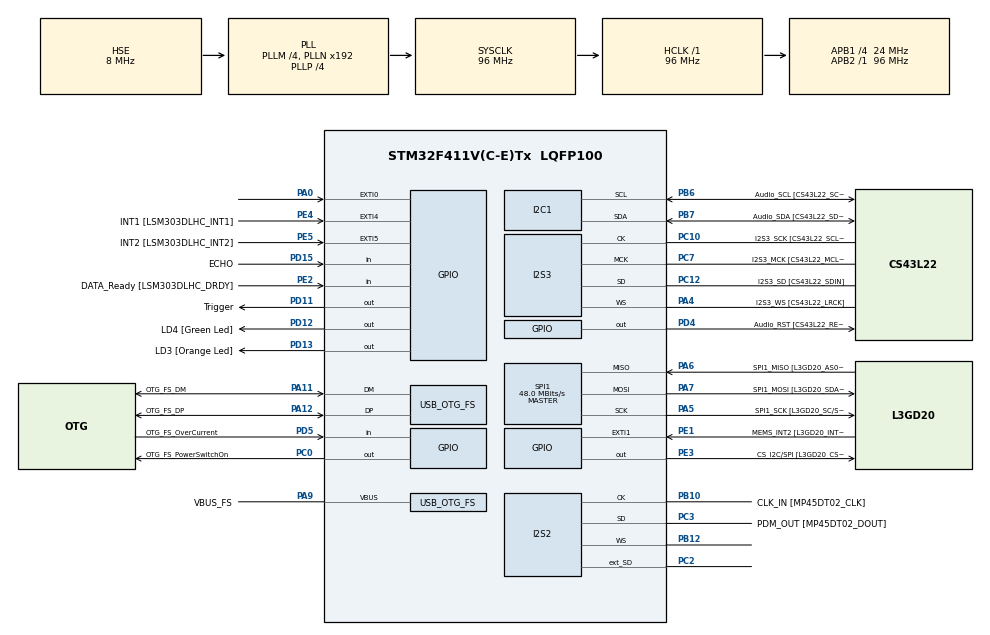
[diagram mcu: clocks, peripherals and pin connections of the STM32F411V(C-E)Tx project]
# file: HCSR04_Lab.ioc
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I2C1.I2C_Mode=I2C_Fast
I2S2.AudioFreq=I2S_AUDIOFREQ_96K
I2S2.ErrorAudioFreq=0.15 %
I2S2.FullDuplexMode=I2S_FULLDUPLEXMODE_ENABLE
I2S2.Instance=SPI$Index
I2S2.RealAudioFreq=96.153 KHz
I2S2.VirtualMode=I2S_MODE_MASTER
I2S3.AudioFreq=I2S_AUDIOFREQ_96K
I2S3.ErrorAudioFreq=-6.99 %
I2S3.FullDuplexMode=I2S_FULLDUPLEXMODE_DISABLE
I2S3.Instance=SPI$Index
I2S3.RealAudioFreq=89.285 KHz
I2S3.VirtualMode=I2S_MODE_MASTER
Mcu.Family=STM32F4
Mcu.Name=STM32F411V(C-E)Tx
Mcu.Package=LQFP100
NVIC.OTG_FS_IRQn=true\:0\:0\:false\:false\:true\:true\:true\:true
NVIC.PriorityGroup=NVIC_PRIORITYGROUP_0
PA0-WKUP.GPIO_ModeDefaultEXTI=GPIO_MODE_EVT_RISING
PA0-WKUP.Signal=GPXTI0
PA10.GPIO_Label=OTG_FS_ID
PA10.Signal=USB_OTG_FS_ID
PA11.GPIO_Label=OTG_FS_DM
PA11.Mode=Host_Only
PA11.Signal=USB_OTG_FS_DM
PA12.GPIO_Label=OTG_FS_DP
PA12.Mode=Host_Only
PA12.Signal=USB_OTG_FS_DP
PA13.GPIO_Label=SWDIO
PA13.Mode=Serial_Wire
PA13.Signal=SYS_JTMS-SWDIO
PA14.GPIO_Label=SWCLK
PA14.Mode=Serial_Wire
PA14.Signal=SYS_JTCK-SWCLK
PA4.GPIO_Label=I2S3_WS [CS43L22_LRCK]
PA4.GPIO_Mode=GPIO_MODE_AF_PP
PA4.GPIO_PuPd=GPIO_NOPULL
PA4.GPIO_Speed=GPIO_SPEED_FREQ_LOW
PA4.Mode=Half_Duplex_Master
PA4.Signal=I2S3_WS
PA5.GPIO_Label=SPI1_SCK [L3GD20_SC/SPC]
PA5.Mode=Full_Duplex_Master
PA5.Signal=SPI1_SCK
PA6.GPIO_Label=SPI1_MISO [L3GD20_AS0/SDO]
PA6.Mode=Full_Duplex_Master
PA6.Signal=SPI1_MISO
PA7.GPIO_Label=SPI1_MOSI [L3GD20_SDA/SDI/SDO]
PA7.Mode=Full_Duplex_Master
PA7.Signal=SPI1_MOSI
PA9.GPIO_Label=VBUS_FS
PA9.Mode=Activate_VBUS
PA9.Signal=USB_OTG_FS_VBUS
PB10.GPIO_Label=CLK_IN [MP45DT02_CLK]
PB10.Mode=Full_Duplex_Master
PB10.Signal=I2S2_CK
PB12.Mode=Full_Duplex_Master
PB12.Signal=I2S2_WS
PB3.GPIO_Label=SWO
PB3.Signal=SYS_JTDO-SWO
PB6.GPIO_Label=Audio_SCL [CS43L22_SCL]
PB6.GPIO_Mode=GPIO_MODE_AF_OD
PB6.GPIO_Pu=GPIO_PULLUP
PB6.GPIO_PuPd=GPIO_NOPULL
PB6.GPIO_Speed=GPIO_SPEED_FREQ_LOW
PB6.Mode=I2C
PB6.Signal=I2C1_SCL
PB7.GPIO_Label=Audio_SDA [CS43L22_SDA]
PB7.GPIO_Mode=GPIO_MODE_AF_OD
PB7.GPIO_Pu=GPIO_PULLUP
PB7.GPIO_Speed=GPIO_SPEED_FREQ_LOW
PB7.Mode=I2C
PB7.Signal=I2C1_SDA
PC0.GPIO_Label=OTG_FS_PowerSwitchOn
PC0.PinState=GPIO_PIN_SET
PC0.Signal=GPIO_Output
PC10.GPIO_Label=I2S3_SCK [CS43L22_SCLK]
PC10.GPIO_Mode=GPIO_MODE_AF_PP
PC10.GPIO_PuPd=GPIO_NOPULL
PC10.GPIO_Speed=GPIO_SPEED_FREQ_LOW
PC10.Mode=Half_Duplex_Master
PC10.Signal=I2S3_CK
PC12.GPIO_Label=I2S3_SD [CS43L22_SDIN]
PC12.GPIO_Mode=GPIO_MODE_AF_PP
PC12.GPIO_PuPd=GPIO_NOPULL
PC12.GPIO_Speed=GPIO_SPEED_FREQ_LOW
PC12.Mode=Half_Duplex_Master
PC12.Signal=I2S3_SD
PC14-OSC32_IN.GPIO_Label=PC14-OSC32_IN
PC14-OSC32_IN.Mode=LSE-External-Oscillator
PC14-OSC32_IN.Signal=RCC_OSC32_IN
PC15-OSC32_OUT.GPIO_Label=PC15-OSC32_OUT
PC15-OSC32_OUT.Mode=LSE-External-Oscillator
PC15-OSC32_OUT.Signal=RCC_OSC32_OUT
PC2.Mode=Full_Duplex_Master
PC2.Signal=I2S2_ext_SD
PC3.GPIO_Label=PDM_OUT [MP45DT02_DOUT]
PC3.Mode=Full_Duplex_Master
PC3.Signal=I2S2_SD
PC7.GPIO_Label=I2S3_MCK [CS43L22_MCLK]
PC7.GPIO_Mode=GPIO_MODE_AF_PP
PC7.GPIO_PuPd=GPIO_NOPULL
PC7.GPIO_Speed=GPIO_SPEED_FREQ_LOW
PC7.Mode=Master_Clock_Activated
PC7.Signal=I2S3_MCK
PD11.GPIO_Label=Trigger
PD11.Signal=GPIO_Output
PD12.GPIO_Label=LD4 [Green Led]
PD12.GPIO_PuPd=GPIO_NOPULL
PD12.GPIO_Speed=GPIO_SPEED_FREQ_LOW
PD12.Signal=GPIO_Output
PD13.GPIO_Label=LD3 [Orange Led]
PD13.GPIO_PuPd=GPIO_NOPULL
PD13.GPIO_Speed=GPIO_SPEED_FREQ_LOW
PD13.Signal=GPIO_Output
PD15.GPIO_Label=ECHO
PD15.Signal=GPIO_Input
PD4.GPIO_Label=Audio_RST [CS43L22_RESET]
PD4.Signal=GPIO_Output
PD5.GPIO_Label=OTG_FS_OverCurrent
PD5.Signal=GPIO_Input
PE1.GPIO_Label=MEMS_INT2 [L3GD20_INT2]
PE1.GPIO_ModeDefaultEXTI=GPIO_MODE_EVT_RISING
PE1.Signal=GPXTI1
PE2.GPIO_Label=DATA_Ready [LSM303DLHC_DRDY]
PE2.Signal=GPIO_Input
PE3.GPIO_Label=CS_I2C/SPI [L3GD20_CS_I2C/SPI]
PE3.Signal=GPIO_Output
PE4.GPIO_Label=INT1 [LSM303DLHC_INT1]
PE4.GPIO_ModeDefaultEXTI=GPIO_MODE_EVT_RISING
PE4.Signal=GPXTI4
PE5.GPIO_Label=INT2 [LSM303DLHC_INT2]
PE5.GPIO_ModeDefaultEXTI=GPIO_MODE_EVT_RISING
PE5.Signal=GPXTI5
PH0\ -\ OSC_IN.GPIO_Label=PH0-OSC_IN
PH0\ -\ OSC_IN.Mode=HSE-External-Oscillator
PH0\ -\ OSC_IN.Signal=RCC_OSC_IN
PH1\ -\ OSC_OUT.GPIO_Label=PH1-OSC_OUT
PH1\ -\ OSC_OUT.Mode=HSE-External-Oscillator
PH1\ -\ OSC_OUT.Signal=RCC_OSC_OUT
ProjectManager.HeapSize=0x200
ProjectManager.StackSize=0x400
ProjectManager.TargetToolchain=STM32CubeIDE
RCC.48MHZClocksFreq_Value=48000000
RCC.AHBFreq_Value=96000000
RCC.APB1CLKDivider=RCC_HCLK_DIV4
RCC.APB1Freq_Value=24000000
RCC.APB1TimFreq_Value=48000000
RCC.APB2Freq_Value=96000000
RCC.APB2TimFreq_Value=96000000
RCC.CortexFreq_Value=96000000
RCC.HCLKFreq_Value=96000000
RCC.HSE_VALUE=8000000
RCC.HSI_VALUE=16000000
RCC.PLLI2SM=5
RCC.PLLI2SN=200
RCC.PLLM=4
RCC.PLLP=RCC_PLLP_DIV4
RCC.PLLQ=8
RCC.SYSCLKFreq_VALUE=96000000
RCC.SYSCLKSource=RCC_SYSCLKSOURCE_PLLCLK
RCC.VCOOutputFreq_Value=384000000
SPI1.BaudRatePrescaler=SPI_BAUDRATEPRESCALER_2
SPI1.CalculateBaudRate=48.0 MBits/s
SPI1.Direction=SPI_DIRECTION_2LINES
SPI1.Mode=SPI_MODE_MASTER
SPI1.VirtualType=VM_MASTER
TIM2.Period=100
TIM2.Prescaler=9600-1
USB_HOST.BSP.number=1
USB_HOST.USBH_HandleTypeDef=hUsbHostFS
USB_HOST.VirtualModeFS=Cdc
USB_HOST0.BSP.STBoard=false
USB_HOST0.BSP.api=Unknown
USB_HOST0.BSP.instance=PC0
USB_HOST0.BSP.ip=GPIO
USB_HOST0.BSP.mode=Output
USB_HOST0.BSP.name=Drive_VBUS_FS
USB_HOST0.BSP.solution=PC0
USB_OTG_FS.VirtualMode=Host_Only
USB_OTG_FS.phy_itface=HCD_PHY_EMBEDDED
VP_TIM2_VS_ClockSourceINT.Mode=Internal
VP_USB_HOST_VS_USB_HOST_CDC_FS.Mode=CDC_FS
board=STM32F411E-DISCO

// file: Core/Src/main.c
/* USER CODE BEGIN Header */
/**
  ******************************************************************************
  * @file           : main.c
  * @brief          : Main program body
  ******************************************************************************
  * @attention
  *
  * Copyright (c) 2022 STMicroelectronics.
  * All rights reserved.
  *
  * This software is licensed under terms that can be found in the LICENSE file
  * in the root directory of this software component.
  * If no LICENSE file comes with this software, it is provided AS-IS.
  *
  ******************************************************************************
  */
/* USER CODE END Header */
#include "main.h"
#include "usb_host.h"

/* USER CODE BEGIN Includes */
#include "ssd1306.h"
#include "fonts.h"
#include "test.h"
#include <stdarg.h>
#include <stdlib.h>
#include <stdio.h>

/* USER CODE END Includes */

I2C_HandleTypeDef hi2c1;

I2S_HandleTypeDef hi2s2;
I2S_HandleTypeDef hi2s3;

SPI_HandleTypeDef hspi1;

TIM_HandleTypeDef htim2;

void SystemClock_Config(void);
void PeriphCommonClock_Config(void);
static void MX_GPIO_Init(void);
static void MX_I2C1_Init(void);
static void MX_I2S2_Init(void);
static void MX_I2S3_Init(void);
static void MX_SPI1_Init(void);
static void MX_TIM2_Init(void);
void MX_USB_HOST_Process(void);

/* USER CODE BEGIN 0 */
// Частота виконання циклу (4 такти і одиниця -- мегагерци, щоб зручніше на
// мікросекунди множити):
#define LOOP_FREQ (SystemCoreClock/4000000)
// LOOP_FREQ == 6 для 24МГц
// LOOP_FREQ == 16 для 64МГц
// LOOP_FREQ == 18 для 72МГц

//! Затримка в мікросекундах.
//! Увага! Не працюватиме за частот, менших за 4МГц, через значення LOOP_FREQ
//! ЗАтримка буде трішки більшою за задану, але на лічені такти.
void udelay_asm(uint32_t useconds) {
	useconds *= LOOP_FREQ;

    asm volatile("   mov r0, %[useconds]    \n\t"
                 "1: subs r0, #1            \n\t"
                 "   bhi 1b                 \n\t"
                 :
                 : [useconds] "r" (useconds)
                 : "r0");
}

void myFmtFunction(const char *fmt, ...)
{
  // determine required buffer size
  va_list args;
  va_start(args, fmt);
  int len = vsnprintf(NULL, 0, fmt, args);
  va_end(args);
  if(len < 0) return;

  // format message
  char msg[len + 1]; // or use heap allocation if implementation doesn't support VLAs
  va_start(args, fmt);
  vsnprintf(msg, len + 1, fmt, args);
  va_end(args);

  // call myFunction
  SSD1306_Puts(msg, &Font_11x18, 1);
}

void main_cycle(){
	 HAL_GPIO_WritePin(Trigger_GPIO_Port, Trigger_Pin, GPIO_PIN_SET);
	 udelay_asm(16);
	 HAL_GPIO_WritePin(Trigger_GPIO_Port, Trigger_Pin, GPIO_PIN_RESET);

	 while(HAL_GPIO_ReadPin(ECHO_GPIO_Port, ECHO_Pin) == GPIO_PIN_RESET );
	   {}
	 uint32_t before = HAL_GetTick();
	 while(HAL_GPIO_ReadPin(ECHO_GPIO_Port, ECHO_Pin) == GPIO_PIN_SET );
	   {}
	 uint32_t pulse_time = HAL_GetTick()-before;
	 //! Увага, не забудьте додати:
	 // monitor arm semihosting enable
	 // До  Debug Configurations -> Startup Tab:
	 //
	 //SSD1306_Clear();
	 SSD1306_GotoXY (10,15); // goto 10, 10
	 myFmtFunction("%lu ms   ", pulse_time);

	 SSD1306_GotoXY (10, 35);
	 myFmtFunction("%lu cm   ", pulse_time*343/20);
	 //SSD1306_Puts(("%lu cm", pulse_time*343/20), &Font_11x18, 1);
	 //SSD1306_Puts ("WORLD !!", &Font_11x18, 1);
	 SSD1306_UpdateScreen();
}
/* USER CODE END 0 */

int main(void)
{

  /* MCU Configuration--------------------------------------------------------*/

  /* Reset of all peripherals, Initializes the Flash interface and the Systick. */
  HAL_Init();

  /* Configure the system clock */
  SystemClock_Config();

/* Configure the peripherals common clocks */
  PeriphCommonClock_Config();

  /* Initialize all configured peripherals */
  MX_GPIO_Init();
  MX_I2C1_Init();
  MX_I2S2_Init();
  MX_I2S3_Init();
  MX_SPI1_Init();
  MX_USB_HOST_Init();
  MX_TIM2_Init();
  /* USER CODE BEGIN 2 */
  SSD1306_Init (); // initialize the display
  HAL_TIM_Base_Start_IT(&htim2);

//  for (uint16_t i; i<6;++i) {
//      SSD1306_GotoXY (6,(i<<3)+i+1);
//      SSD1306_Puts ("HELLO", &Font_7x10, 1);
//
//    }
//
//    SSD1306_UpdateScreen();
  /* USER CODE END 2 */

  /* Infinite loop */
    while (1)
    {
    MX_USB_HOST_Process();

    }
}

void SystemClock_Config(void)
{
  RCC_OscInitTypeDef RCC_OscInitStruct = {0};
  RCC_ClkInitTypeDef RCC_ClkInitStruct = {0};

  /** Configure the main internal regulator output voltage
  */
  __HAL_RCC_PWR_CLK_ENABLE();
  __HAL_PWR_VOLTAGESCALING_CONFIG(PWR_REGULATOR_VOLTAGE_SCALE1);

  /** Initializes the RCC Oscillators according to the specified parameters
  * in the RCC_OscInitTypeDef structure.
  */
  RCC_OscInitStruct.OscillatorType = RCC_OSCILLATORTYPE_HSE;
  RCC_OscInitStruct.HSEState = RCC_HSE_ON;
  RCC_OscInitStruct.PLL.PLLState = RCC_PLL_ON;
  RCC_OscInitStruct.PLL.PLLSource = RCC_PLLSOURCE_HSE;
  RCC_OscInitStruct.PLL.PLLM = 4;
  RCC_OscInitStruct.PLL.PLLN = 192;
  RCC_OscInitStruct.PLL.PLLP = RCC_PLLP_DIV4;
  RCC_OscInitStruct.PLL.PLLQ = 8;
  if (HAL_RCC_OscConfig(&RCC_OscInitStruct) != HAL_OK)
  {
    Error_Handler();
  }

  /** Initializes the CPU, AHB and APB buses clocks
  */
  RCC_ClkInitStruct.ClockType = RCC_CLOCKTYPE_HCLK|RCC_CLOCKTYPE_SYSCLK
                              |RCC_CLOCKTYPE_PCLK1|RCC_CLOCKTYPE_PCLK2;
  RCC_ClkInitStruct.SYSCLKSource = RCC_SYSCLKSOURCE_PLLCLK;
  RCC_ClkInitStruct.AHBCLKDivider = RCC_SYSCLK_DIV1;
  RCC_ClkInitStruct.APB1CLKDivider = RCC_HCLK_DIV4;
  RCC_ClkInitStruct.APB2CLKDivider = RCC_HCLK_DIV1;

  if (HAL_RCC_ClockConfig(&RCC_ClkInitStruct, FLASH_LATENCY_3) != HAL_OK)
  {
    Error_Handler();
  }
}

void PeriphCommonClock_Config(void)
{
  RCC_PeriphCLKInitTypeDef PeriphClkInitStruct = {0};

  /** Initializes the peripherals clock
  */
  PeriphClkInitStruct.PeriphClockSelection = RCC_PERIPHCLK_I2S;
  PeriphClkInitStruct.PLLI2S.PLLI2SN = 200;
  PeriphClkInitStruct.PLLI2S.PLLI2SM = 5;
  PeriphClkInitStruct.PLLI2S.PLLI2SR = 2;
  if (HAL_RCCEx_PeriphCLKConfig(&PeriphClkInitStruct) != HAL_OK)
  {
    Error_Handler();
  }
}

static void MX_I2C1_Init(void)
{

  hi2c1.Instance = I2C1;
  hi2c1.Init.ClockSpeed = 400000;
  hi2c1.Init.DutyCycle = I2C_DUTYCYCLE_2;
  hi2c1.Init.OwnAddress1 = 0;
  hi2c1.Init.AddressingMode = I2C_ADDRESSINGMODE_7BIT;
  hi2c1.Init.DualAddressMode = I2C_DUALADDRESS_DISABLE;
  hi2c1.Init.OwnAddress2 = 0;
  hi2c1.Init.GeneralCallMode = I2C_GENERALCALL_DISABLE;
  hi2c1.Init.NoStretchMode = I2C_NOSTRETCH_DISABLE;
  if (HAL_I2C_Init(&hi2c1) != HAL_OK)
  {
    Error_Handler();
  }

}

static void MX_I2S2_Init(void)
{

  hi2s2.Instance = SPI2;
  hi2s2.Init.Mode = I2S_MODE_MASTER_TX;
  hi2s2.Init.Standard = I2S_STANDARD_PHILIPS;
  hi2s2.Init.DataFormat = I2S_DATAFORMAT_16B;
  hi2s2.Init.MCLKOutput = I2S_MCLKOUTPUT_DISABLE;
  hi2s2.Init.AudioFreq = I2S_AUDIOFREQ_96K;
  hi2s2.Init.CPOL = I2S_CPOL_LOW;
  hi2s2.Init.ClockSource = I2S_CLOCK_PLL;
  hi2s2.Init.FullDuplexMode = I2S_FULLDUPLEXMODE_ENABLE;
  if (HAL_I2S_Init(&hi2s2) != HAL_OK)
  {
    Error_Handler();
  }

}

static void MX_I2S3_Init(void)
{

  hi2s3.Instance = SPI3;
  hi2s3.Init.Mode = I2S_MODE_MASTER_TX;
  hi2s3.Init.Standard = I2S_STANDARD_PHILIPS;
  hi2s3.Init.DataFormat = I2S_DATAFORMAT_16B;
  hi2s3.Init.MCLKOutput = I2S_MCLKOUTPUT_ENABLE;
  hi2s3.Init.AudioFreq = I2S_AUDIOFREQ_96K;
  hi2s3.Init.CPOL = I2S_CPOL_LOW;
  hi2s3.Init.ClockSource = I2S_CLOCK_PLL;
  hi2s3.Init.FullDuplexMode = I2S_FULLDUPLEXMODE_DISABLE;
  if (HAL_I2S_Init(&hi2s3) != HAL_OK)
  {
    Error_Handler();
  }

}

static void MX_SPI1_Init(void)
{

  /* SPI1 parameter configuration*/
  hspi1.Instance = SPI1;
  hspi1.Init.Mode = SPI_MODE_MASTER;
  hspi1.Init.Direction = SPI_DIRECTION_2LINES;
  hspi1.Init.DataSize = SPI_DATASIZE_8BIT;
  hspi1.Init.CLKPolarity = SPI_POLARITY_LOW;
  hspi1.Init.CLKPhase = SPI_PHASE_1EDGE;
  hspi1.Init.NSS = SPI_NSS_SOFT;
  hspi1.Init.BaudRatePrescaler = SPI_BAUDRATEPRESCALER_2;
  hspi1.Init.FirstBit = SPI_FIRSTBIT_MSB;
  hspi1.Init.TIMode = SPI_TIMODE_DISABLE;
  hspi1.Init.CRCCalculation = SPI_CRCCALCULATION_DISABLE;
  hspi1.Init.CRCPolynomial = 10;
  if (HAL_SPI_Init(&hspi1) != HAL_OK)
  {
    Error_Handler();
  }

}

static void MX_TIM2_Init(void)
{

  TIM_ClockConfigTypeDef sClockSourceConfig = {0};
  TIM_MasterConfigTypeDef sMasterConfig = {0};

  htim2.Instance = TIM2;
  htim2.Init.Prescaler = 9600-1;
  htim2.Init.CounterMode = TIM_COUNTERMODE_UP;
  htim2.Init.Period = 100;
  htim2.Init.ClockDivision = TIM_CLOCKDIVISION_DIV1;
  htim2.Init.AutoReloadPreload = TIM_AUTORELOAD_PRELOAD_DISABLE;
  if (HAL_TIM_Base_Init(&htim2) != HAL_OK)
  {
    Error_Handler();
  }
  sClockSourceConfig.ClockSource = TIM_CLOCKSOURCE_INTERNAL;
  if (HAL_TIM_ConfigClockSource(&htim2, &sClockSourceConfig) != HAL_OK)
  {
    Error_Handler();
  }
  sMasterConfig.MasterOutputTrigger = TIM_TRGO_RESET;
  sMasterConfig.MasterSlaveMode = TIM_MASTERSLAVEMODE_DISABLE;
  if (HAL_TIMEx_MasterConfigSynchronization(&htim2, &sMasterConfig) != HAL_OK)
  {
    Error_Handler();
  }

}

static void MX_GPIO_Init(void)
{
  GPIO_InitTypeDef GPIO_InitStruct = {0};

  /* GPIO Ports Clock Enable */
  __HAL_RCC_GPIOE_CLK_ENABLE();
  __HAL_RCC_GPIOC_CLK_ENABLE();
  __HAL_RCC_GPIOH_CLK_ENABLE();
  __HAL_RCC_GPIOA_CLK_ENABLE();
  __HAL_RCC_GPIOB_CLK_ENABLE();
  __HAL_RCC_GPIOD_CLK_ENABLE();

  /*Configure GPIO pin Output Level */
  HAL_GPIO_WritePin(CS_I2C_SPI_GPIO_Port, CS_I2C_SPI_Pin, GPIO_PIN_RESET);

  /*Configure GPIO pin Output Level */
  HAL_GPIO_WritePin(OTG_FS_PowerSwitchOn_GPIO_Port, OTG_FS_PowerSwitchOn_Pin, GPIO_PIN_SET);

  /*Configure GPIO pin Output Level */
  HAL_GPIO_WritePin(GPIOD, Trigger_Pin|LD4_Pin|LD3_Pin|Audio_RST_Pin, GPIO_PIN_RESET);

  /*Configure GPIO pin : DATA_Ready_Pin */
  GPIO_InitStruct.Pin = DATA_Ready_Pin;
  GPIO_InitStruct.Mode = GPIO_MODE_INPUT;
  GPIO_InitStruct.Pull = GPIO_NOPULL;
  HAL_GPIO_Init(DATA_Ready_GPIO_Port, &GPIO_InitStruct);

  /*Configure GPIO pin : CS_I2C_SPI_Pin */
  GPIO_InitStruct.Pin = CS_I2C_SPI_Pin;
  GPIO_InitStruct.Mode = GPIO_MODE_OUTPUT_PP;
  GPIO_InitStruct.Pull = GPIO_NOPULL;
  GPIO_InitStruct.Speed = GPIO_SPEED_FREQ_LOW;
  HAL_GPIO_Init(CS_I2C_SPI_GPIO_Port, &GPIO_InitStruct);

  /*Configure GPIO pins : INT1_Pin INT2_Pin MEMS_INT2_Pin */
  GPIO_InitStruct.Pin = INT1_Pin|INT2_Pin|MEMS_INT2_Pin;
  GPIO_InitStruct.Mode = GPIO_MODE_EVT_RISING;
  GPIO_InitStruct.Pull = GPIO_NOPULL;
  HAL_GPIO_Init(GPIOE, &GPIO_InitStruct);

  /*Configure GPIO pin : OTG_FS_PowerSwitchOn_Pin */
  GPIO_InitStruct.Pin = OTG_FS_PowerSwitchOn_Pin;
  GPIO_InitStruct.Mode = GPIO_MODE_OUTPUT_PP;
  GPIO_InitStruct.Pull = GPIO_NOPULL;
  GPIO_InitStruct.Speed = GPIO_SPEED_FREQ_LOW;
  HAL_GPIO_Init(OTG_FS_PowerSwitchOn_GPIO_Port, &GPIO_InitStruct);

  /*Configure GPIO pin : PA0 */
  GPIO_InitStruct.Pin = GPIO_PIN_0;
  GPIO_InitStruct.Mode = GPIO_MODE_EVT_RISING;
  GPIO_InitStruct.Pull = GPIO_NOPULL;
  HAL_GPIO_Init(GPIOA, &GPIO_InitStruct);

  /*Configure GPIO pins : Trigger_Pin LD4_Pin LD3_Pin Audio_RST_Pin */
  GPIO_InitStruct.Pin = Trigger_Pin|LD4_Pin|LD3_Pin|Audio_RST_Pin;
  GPIO_InitStruct.Mode = GPIO_MODE_OUTPUT_PP;
  GPIO_InitStruct.Pull = GPIO_NOPULL;
  GPIO_InitStruct.Speed = GPIO_SPEED_FREQ_LOW;
  HAL_GPIO_Init(GPIOD, &GPIO_InitStruct);

  /*Configure GPIO pins : ECHO_Pin OTG_FS_OverCurrent_Pin */
  GPIO_InitStruct.Pin = ECHO_Pin|OTG_FS_OverCurrent_Pin;
  GPIO_InitStruct.Mode = GPIO_MODE_INPUT;
  GPIO_InitStruct.Pull = GPIO_NOPULL;
  HAL_GPIO_Init(GPIOD, &GPIO_InitStruct);

}

/* USER CODE BEGIN 4 */
void HAL_TIM_PeriodElapsedCallback(TIM_HandleTypeDef *htim)
{
  if(htim == &htim2)
  {
	main_cycle();
  }
}

/* USER CODE END 4 */

void Error_Handler(void)
{
  __disable_irq();
  while (1)
  {
  }
}
